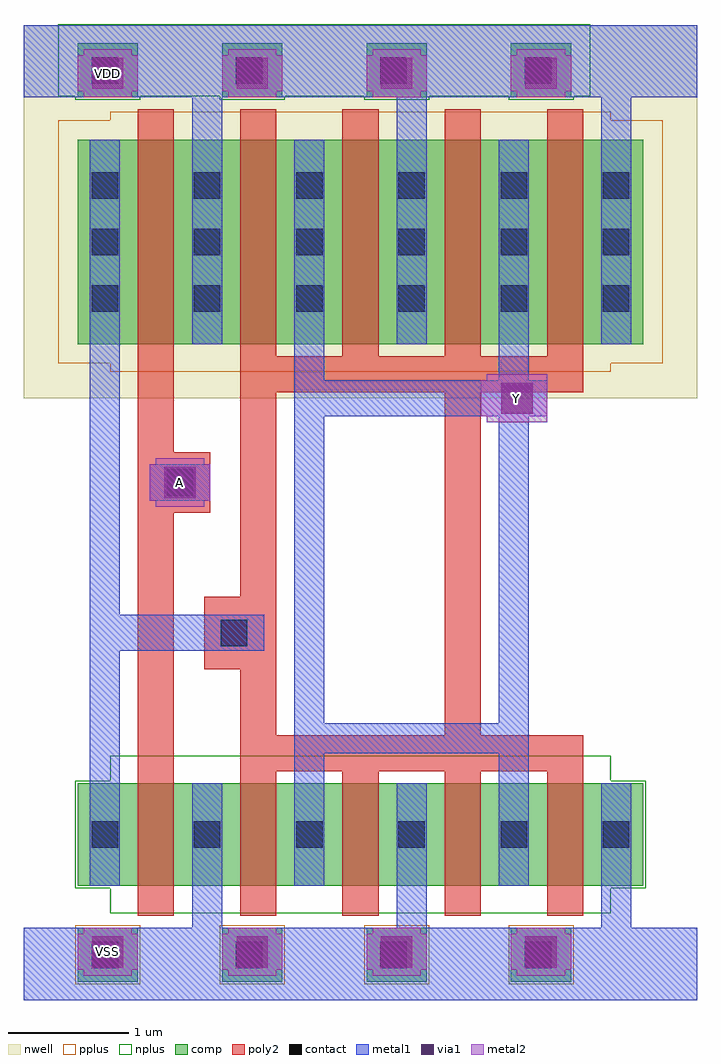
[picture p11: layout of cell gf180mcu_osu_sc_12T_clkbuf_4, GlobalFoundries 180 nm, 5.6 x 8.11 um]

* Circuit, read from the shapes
.subckt gf180mcu_osu_sc_12T_clkbuf_4 A VDD VSS Y
XM1 VSS A n1 VSS nfet_03v3 w=0.85u l=0.3u
XM2 Y n1 VSS VSS nfet_03v3 w=0.85u l=0.3u m=4
XM3 VDD A n1 VDD pfet_03v3 w=1.7u l=0.3u
XM4 Y n1 VDD VDD pfet_03v3 w=1.7u l=0.3u m=4
.ends

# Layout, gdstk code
import gdstk
lib = gdstk.Library(unit=1e-6, precision=1e-09)
def R(c, l, rs):  # rectangles x0, y0, x1, y1
    for r in rs: c.add(gdstk.rectangle(r[:2], r[2:], *l))
def A(c, l, x, y, w, h, nx, ny, dx, dy):  # array of equal rectangles
    R(c, l, [(x+i*dx, y+j*dy, x+i*dx+w, y+j*dy+h) for i in range(nx) for j in range(ny)])
nwell = (21, 0)
comp = (22, 0)
poly2 = (30, 0)
pplus = (31, 0)
nplus = (32, 0)
contact = (33, 0)
metal1 = (34, 0)
via1 = (35, 0)
metal2 = (36, 0)

gf180mcu_osu_sc_12t_clkb = lib.new_cell('gf180mcu_osu_sc_12T_clkbuf_4')
R(gf180mcu_osu_sc_12t_clkb, nwell, [(0,5,5.6,8.1)])
A(gf180mcu_osu_sc_12t_clkb, comp, 0.45, 0.15, 0.5, 0.45, 4, 2, 1.2, 7.35)
R(gf180mcu_osu_sc_12t_clkb, comp, [(0.45,0.95,5.15,1.8), (0.45,5.45,5.15,7.15)])
A(gf180mcu_osu_sc_12t_clkb, poly2, 1.8, 0.7, 0.3, 1.2, 4, 1, 0.85, 0)
A(gf180mcu_osu_sc_12t_clkb, poly2, 1.8, 5.35, 0.3, 2.05, 4, 1, 0.85, 0)
R(gf180mcu_osu_sc_12t_clkb, poly2, [(0.95,0.7,1.25,4.05), (1.8,1.9,4.65,2.2), (1.8,2.2,2.1,2.75), (3.5,2.2,3.8,5.05), (1.5,2.75,2.1,3.35), (1.8,3.35,2.1,5.05), (0.95,4.05,1.55,4.55), (0.95,4.55,1.25,7.4), (1.8,5.05,4.65,5.35)])
A(gf180mcu_osu_sc_12t_clkb, pplus, 0.43, 0.13, 0.54, 0.49, 4, 1, 1.2, 0)
R(gf180mcu_osu_sc_12t_clkb, pplus, [(0.72,5.22,4.88,5.29), (0.29,5.29,5.31,7.31), (0.72,7.31,4.88,7.38)])
A(gf180mcu_osu_sc_12t_clkb, nplus, 0.43, 7.48, 0.54, 0.03, 4, 1, 1.2, 0)
R(gf180mcu_osu_sc_12t_clkb, nplus, [(0.72,0.72,4.88,0.93), (0.43,0.93,5.17,1.82), (0.72,1.82,4.88,2.03), (0.29,7.51,4.71,8.11)])
A(gf180mcu_osu_sc_12t_clkb, contact, 0.565, 0.265, 0.22, 0.22, 4, 2, 1.2, 7.35)
A(gf180mcu_osu_sc_12t_clkb, contact, 0.565, 1.265, 0.22, 0.22, 6, 2, 0.85, 4.455)
A(gf180mcu_osu_sc_12t_clkb, contact, 0.565, 6.19, 0.22, 0.22, 6, 2, 0.85, 0.47)
R(gf180mcu_osu_sc_12t_clkb, contact, [(1.64,2.94,1.86,3.16), (1.19,4.19,1.41,4.41)])
A(gf180mcu_osu_sc_12t_clkb, metal1, 1.4, 0.6, 0.25, 1.2, 3, 1, 1.7, 0)
A(gf180mcu_osu_sc_12t_clkb, metal1, 1.4, 5.45, 0.25, 2.05, 3, 1, 1.7, 0)
R(gf180mcu_osu_sc_12t_clkb, metal1, [(0,0,5.6,0.6), (0.55,0.95,0.8,2.9), (2.25,0.95,2.5,2.05), (3.95,0.95,4.2,2.05), (2.25,2.05,4.2,2.3), (2.25,2.3,2.5,4.85), (3.95,2.3,4.2,4.85), (0.55,2.9,2,3.2), (0.55,3.2,0.8,7.15), (1.05,4.15,1.55,4.45), (2.25,4.85,4.35,5.15), (2.25,5.15,2.5,7.15), (3.95,5.15,4.2,7.15), (0,7.5,5.6,8.1)])
A(gf180mcu_osu_sc_12t_clkb, via1, 0.57, 0.27, 0.26, 0.26, 4, 2, 1.2, 7.3)
R(gf180mcu_osu_sc_12t_clkb, via1, [(1.17,4.17,1.43,4.43), (3.97,4.87,4.23,5.13)])
A(gf180mcu_osu_sc_12t_clkb, metal2, 0.5, 0.2, 0.4, 0.05, 4, 2, 1.2, 0.35)
A(gf180mcu_osu_sc_12t_clkb, metal2, 0.45, 0.25, 0.5, 0.3, 4, 2, 1.2, 7.3)
A(gf180mcu_osu_sc_12t_clkb, metal2, 0.5, 7.5, 0.4, 0.05, 4, 2, 1.2, 0.35)
R(gf180mcu_osu_sc_12t_clkb, metal2, [(1.1,4.1,1.5,4.15), (1.05,4.15,1.55,4.45), (1.1,4.45,1.5,4.5), (3.85,4.8,4.35,4.85), (3.8,4.85,4.35,5.15), (3.85,5.15,4.35,5.2)])
gf180mcu_osu_sc_12t_clkb.add(gdstk.Label('VSS', (0.7,0.4), layer=36, texttype=0))
gf180mcu_osu_sc_12t_clkb.add(gdstk.Label('VDD', (0.7,7.7), layer=36, texttype=0))
gf180mcu_osu_sc_12t_clkb.add(gdstk.Label('A', (1.3,4.3), layer=36, texttype=10))
gf180mcu_osu_sc_12t_clkb.add(gdstk.Label('Y', (4.1,5), layer=36, texttype=10))

lib.write_gds('gf180mcu_osu_sc_12T_clkbuf_4.gds')
